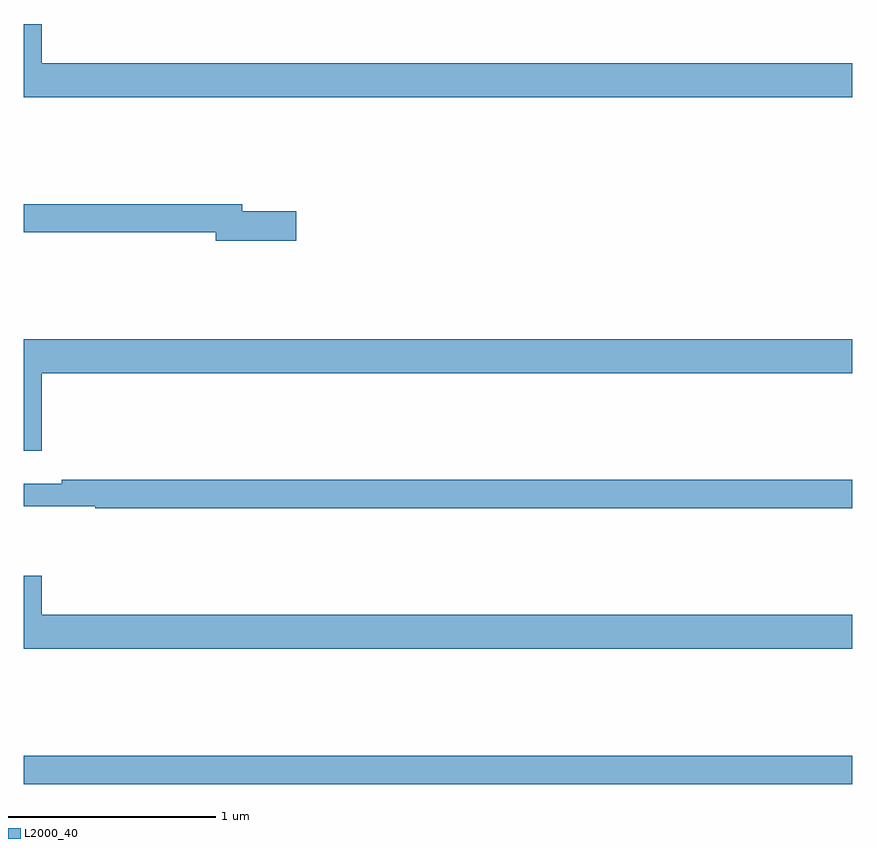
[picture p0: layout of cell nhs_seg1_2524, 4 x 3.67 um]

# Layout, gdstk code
import gdstk
lib = gdstk.Library(unit=1e-6, precision=1e-09)
def R(c, l, rs):  # rectangles x0, y0, x1, y1
    for r in rs: c.add(gdstk.rectangle(r[:2], r[2:], *l))
def P(c, l, *ps):  # polygons
    for p in ps: c.add(gdstk.Polygon(p, *l))
L2000_40 = (2000, 40)

nhs_seg1_2524 = lib.new_cell('nhs_seg1_2524')
R(nhs_seg1_2524, L2000_40, [(249,504.46,253,504.596)])
P(nhs_seg1_2524, L2000_40, [(253,507.94),(249.088,507.94),(249.088,508.129),(249,508.129),(249,507.776),(253,507.776)],
  [(250.315,507.224),(250.054,507.224),(250.054,507.26),(249,507.26),(249,507.124),(249.926,507.124),(249.926,507.082),(250.315,507.082)],
  [(249.088,506.444),(253,506.444),(253,506.608),(249,506.608),(249,506.07),(249.088,506.07)],
  [(253,505.928),(249.184,505.928),(249.184,505.909),(249,505.909),(249,505.8),(249.345,505.8),(249.345,505.792),(253,505.792)],
  [(253,505.276),(249.088,505.276),(249.088,505.465),(249,505.465),(249,505.112),(253,505.112)])

lib.write_gds('nhs_seg1_2524.gds')
